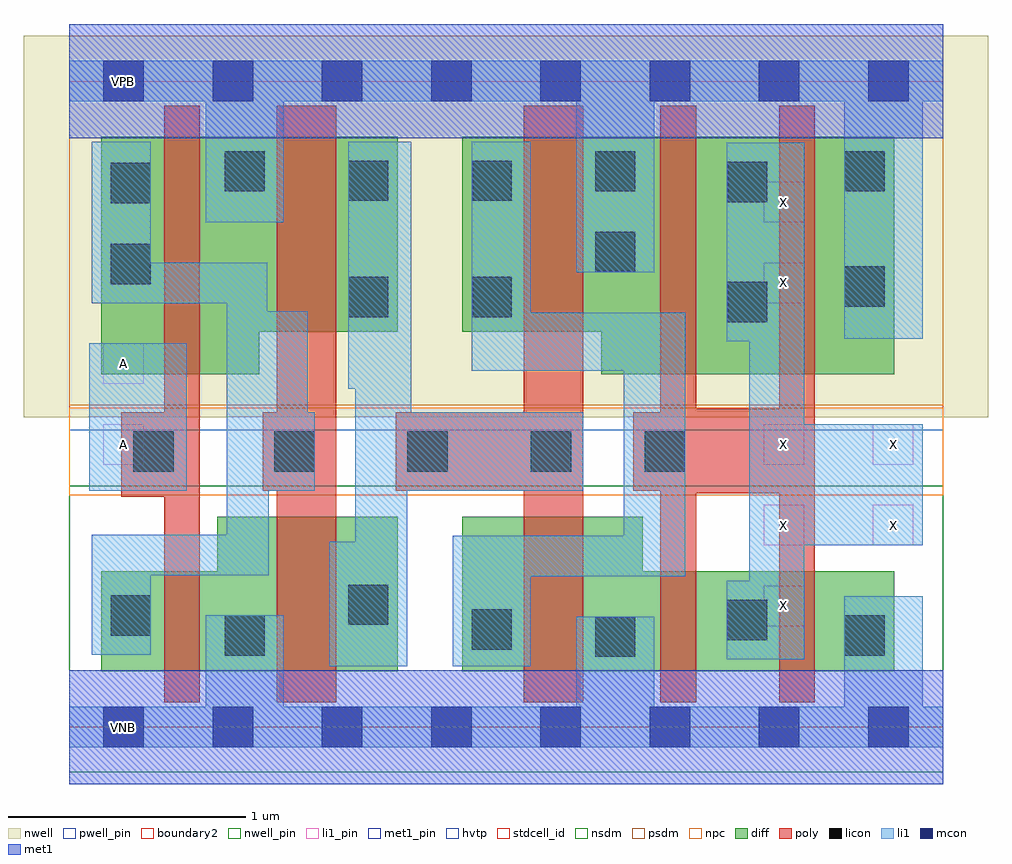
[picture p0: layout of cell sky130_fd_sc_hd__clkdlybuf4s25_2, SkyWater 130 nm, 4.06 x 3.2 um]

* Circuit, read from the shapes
.subckt sky130_fd_sc_hd__clkdlybuf4s25_2 A VGND VNB VPB VPWR X
XM1 VGND A n1 VNB sky130_fd_pr__nfet_01v8 w=0.42 l=0.15
XM2 n2 n1 VGND VNB sky130_fd_pr__nfet_01v8 w=0.65 l=0.25
XM3 VGND n2 n3 VNB sky130_fd_pr__nfet_01v8 w=0.65 l=0.25
XM4 X n3 VGND VNB sky130_fd_pr__nfet_01v8 w=0.42 l=0.15 m=2
XM5 VPWR A n1 VPB sky130_fd_pr__pfet_01v8_hvt w=1 l=0.15
XM6 n2 n1 VPWR VPB sky130_fd_pr__pfet_01v8_hvt w=0.82 l=0.25
XM7 VPWR n2 n3 VPB sky130_fd_pr__pfet_01v8_hvt w=0.82 l=0.25
XM8 X n3 VPWR VPB sky130_fd_pr__pfet_01v8_hvt w=1 l=0.15 m=2
.ends

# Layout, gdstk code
import gdstk
lib = gdstk.Library(unit=1e-6, precision=1e-09)
def R(c, l, rs):  # rectangles x0, y0, x1, y1
    for r in rs: c.add(gdstk.rectangle(r[:2], r[2:], *l))
def A(c, l, x, y, w, h, nx, ny, dx, dy):  # array of equal rectangles
    R(c, l, [(x+i*dx, y+j*dy, x+i*dx+w, y+j*dy+h) for i in range(nx) for j in range(ny)])
def P(c, l, *ps):  # polygons
    for p in ps: c.add(gdstk.Polygon(p, *l))
nwell_pin = (64, 16)
nwell = (64, 20)
diff = (65, 20)
poly = (66, 20)
licon = (66, 44)
li1_pin = (67, 16)
li1 = (67, 20)
mcon = (67, 44)
met1_pin = (68, 16)
met1 = (68, 20)
hvtp = (78, 44)
stdcell_id = (81, 4)
nsdm = (93, 44)
psdm = (94, 20)
npc = (95, 20)
pwell_pin = (122, 16)
boundary2 = (236, 0)

sky130_fd_sc_hd__clkdlyb = lib.new_cell('sky130_fd_sc_hd__clkdlybuf4s25_2')
R(sky130_fd_sc_hd__clkdlyb, nwell_pin, [(0.145,2.635,0.315,2.805)])
R(sky130_fd_sc_hd__clkdlyb, nwell, [(-0.19,1.305,3.87,2.91)])
P(sky130_fd_sc_hd__clkdlyb, diff, [(1.385,2.485),(0.135,2.485),(0.135,1.485),(0.8,1.485),(0.8,1.665),(1.385,1.665)],
  [(1.385,0.885),(0.625,0.885),(0.625,0.655),(0.135,0.655),(0.135,0.235),(1.385,0.235)],
  [(3.475,2.485),(1.655,2.485),(1.655,1.665),(2.24,1.665),(2.24,1.485),(3.475,1.485)],
  [(3.475,0.655),(2.415,0.655),(2.415,0.885),(1.655,0.885),(1.655,0.235),(3.475,0.235)])
P(sky130_fd_sc_hd__clkdlyb, poly, [(3.14,2.615),(2.99,2.615),(2.99,1.34),(2.64,1.34),(2.64,2.615),(2.49,2.615),(2.49,1.325),(2.375,1.325),(2.375,0.995),(2.49,0.995),(2.49,0.105),(2.64,0.105),(2.64,0.985),(2.99,0.985),(2.99,0.105),(3.14,0.105)],
  [(2.165,2.615),(1.915,2.615),(1.915,1.325),(1.375,1.325),(1.375,0.995),(1.915,0.995),(1.915,0.105),(2.165,0.105)],
  [(1.125,2.615),(0.875,2.615),(0.875,1.325),(0.815,1.325),(0.815,0.995),(0.875,0.995),(0.875,0.105),(1.125,0.105)],
  [(0.55,2.615),(0.4,2.615),(0.4,1.325),(0.22,1.325),(0.22,0.97),(0.4,0.97),(0.4,0.105),(0.55,0.105)])
R(sky130_fd_sc_hd__clkdlyb, licon, [(2.215,0.295,2.385,0.465), (0.655,0.3,0.825,0.47), (3.265,0.3,3.435,0.47), (1.695,0.325,1.865,0.495), (2.77,0.365,2.94,0.535), (0.175,0.385,0.345,0.555), (1.175,0.43,1.345,0.6), (0.27,1.075,0.44,1.245), (0.865,1.075,1.035,1.245), (1.425,1.075,1.595,1.245), (1.945,1.075,2.115,1.245), (2.425,1.075,2.595,1.245), (2.77,1.705,2.94,1.875), (1.175,1.725,1.345,1.895), (1.695,1.725,1.865,1.895), (3.265,1.77,3.435,1.94), (0.175,1.865,0.345,2.035), (2.215,1.915,2.385,2.085), (0.175,2.205,0.345,2.375), (2.77,2.21,2.94,2.38), (1.175,2.215,1.345,2.385), (1.695,2.215,1.865,2.385), (0.655,2.255,0.825,2.425), (2.215,2.255,2.385,2.425), (3.265,2.255,3.435,2.425)])
A(sky130_fd_sc_hd__clkdlyb, li1_pin, 2.925, 0.425, 0.17, 0.17, 1, 3, 0, 0.34)
R(sky130_fd_sc_hd__clkdlyb, li1_pin, [(3.385,0.765,3.555,0.935), (0.145,1.105,0.315,1.275), (3.385,1.105,3.555,1.275), (0.145,1.445,0.315,1.615), (2.925,1.785,3.095,1.955), (2.925,2.125,3.095,2.295)])
R(sky130_fd_sc_hd__clkdlyb, li1, [(0.085,0.995,0.495,1.615)])
P(sky130_fd_sc_hd__clkdlyb, li1, [(3.595,1.275),(3.095,1.275),(3.095,2.46),(2.77,2.46),(2.77,1.625),(2.865,1.625),(2.865,0.615),(2.77,0.615),(2.77,0.285),(3.095,0.285),(3.095,0.765),(3.595,0.765)],
  [(3.68,2.805),(0,2.805),(0,2.635),(0.575,2.635),(0.575,2.125),(0.905,2.125),(0.905,2.635),(2.135,2.635),(2.135,1.915),(2.465,1.915),(2.465,2.635),(3.265,2.635),(3.265,1.635),(3.595,1.635),(3.595,2.635),(3.68,2.635)],
  [(2.595,1.745),(1.945,1.745),(1.945,2.465),(1.695,2.465),(1.695,1.5),(2.335,1.5),(2.335,0.805),(1.615,0.805),(1.615,0.255),(1.945,0.255),(1.945,0.635),(2.595,0.635)],
  [(2.165,1.325),(1.44,1.325),(1.44,2.465),(1.175,2.465),(1.175,1.425),(1.205,1.425),(1.205,0.78),(1.095,0.78),(1.095,0.255),(1.425,0.255),(1.425,0.995),(2.165,0.995)],
  [(1.035,1.325),(1.005,1.325),(1.005,1.75),(0.835,1.75),(0.835,1.955),(0.345,1.955),(0.345,2.465),(0.095,2.465),(0.095,1.785),(0.665,1.785),(0.665,0.81),(0.095,0.81),(0.095,0.305),(0.345,0.305),(0.345,0.64),(0.84,0.64),(0.84,0.995),(1.035,0.995)],
  [(3.68,0.085),(3.595,0.085),(3.595,0.55),(3.265,0.55),(3.265,0.085),(2.465,0.085),(2.465,0.465),(2.135,0.465),(2.135,0.085),(0.905,0.085),(0.905,0.47),(0.575,0.47),(0.575,0.085),(0,0.085),(0,-0.085),(3.68,-0.085)])
A(sky130_fd_sc_hd__clkdlyb, mcon, 0.145, -0.085, 0.17, 0.17, 8, 2, 0.46, 2.72)
R(sky130_fd_sc_hd__clkdlyb, met1_pin, [(0.145,-0.085,0.315,0.085), (0.145,2.635,0.315,2.805)])
R(sky130_fd_sc_hd__clkdlyb, hvtp, [(0,1.25,3.68,2.72)])
R(sky130_fd_sc_hd__clkdlyb, stdcell_id, [(0,0,3.68,2.72)])
R(sky130_fd_sc_hd__clkdlyb, nsdm, [(0,-0.19,3.68,1.015)])
R(sky130_fd_sc_hd__clkdlyb, psdm, [(0,1.355,3.68,2.91)])
R(sky130_fd_sc_hd__clkdlyb, npc, [(0,0.975,3.68,1.345)])
R(sky130_fd_sc_hd__clkdlyb, pwell_pin, [(0.145,-0.085,0.315,0.085)])
R(sky130_fd_sc_hd__clkdlyb, boundary2, [(0,0,3.68,2.72)])
sky130_fd_sc_hd__clkdlyb.add(gdstk.FlexPath([(0,0),(3.68,0)], 0.48, ends="flush", simple_path=True, layer=68, datatype=20))  # met1
sky130_fd_sc_hd__clkdlyb.add(gdstk.FlexPath([(0,2.72),(3.68,2.72)], 0.48, ends="flush", simple_path=True, layer=68, datatype=20))  # met1
sky130_fd_sc_hd__clkdlyb.add(gdstk.Label('X', (3.01,1.19), layer=67, texttype=5))
sky130_fd_sc_hd__clkdlyb.add(gdstk.Label('X', (3.01,0.51), layer=67, texttype=5))
sky130_fd_sc_hd__clkdlyb.add(gdstk.Label('X', (3.01,2.21), layer=67, texttype=5))
sky130_fd_sc_hd__clkdlyb.add(gdstk.Label('X', (3.47,0.85), layer=67, texttype=5))
sky130_fd_sc_hd__clkdlyb.add(gdstk.Label('X', (3.01,0.85), layer=67, texttype=5))
sky130_fd_sc_hd__clkdlyb.add(gdstk.Label('X', (3.01,1.87), layer=67, texttype=5))
sky130_fd_sc_hd__clkdlyb.add(gdstk.Label('X', (3.47,1.19), layer=67, texttype=5))
sky130_fd_sc_hd__clkdlyb.add(gdstk.Label('A', (0.23,1.53), layer=67, texttype=5))
sky130_fd_sc_hd__clkdlyb.add(gdstk.Label('A', (0.23,1.19), layer=67, texttype=5))
sky130_fd_sc_hd__clkdlyb.add(gdstk.Label('VNB', (0.23,0), layer=64, texttype=59))
sky130_fd_sc_hd__clkdlyb.add(gdstk.Label('VPB', (0.23,2.72), layer=64, texttype=5))
sky130_fd_sc_hd__clkdlyb.add(gdstk.Label('VPWR', (0.23,2.72), layer=68, texttype=5))
sky130_fd_sc_hd__clkdlyb.add(gdstk.Label('VGND', (0.23,0), layer=68, texttype=5))
sky130_fd_sc_hd__clkdlyb.add(gdstk.Label('clkdlybuf4s25_2', (0,0), layer=83, texttype=44))

lib.write_gds('sky130_fd_sc_hd__clkdlybuf4s25_2.gds')
